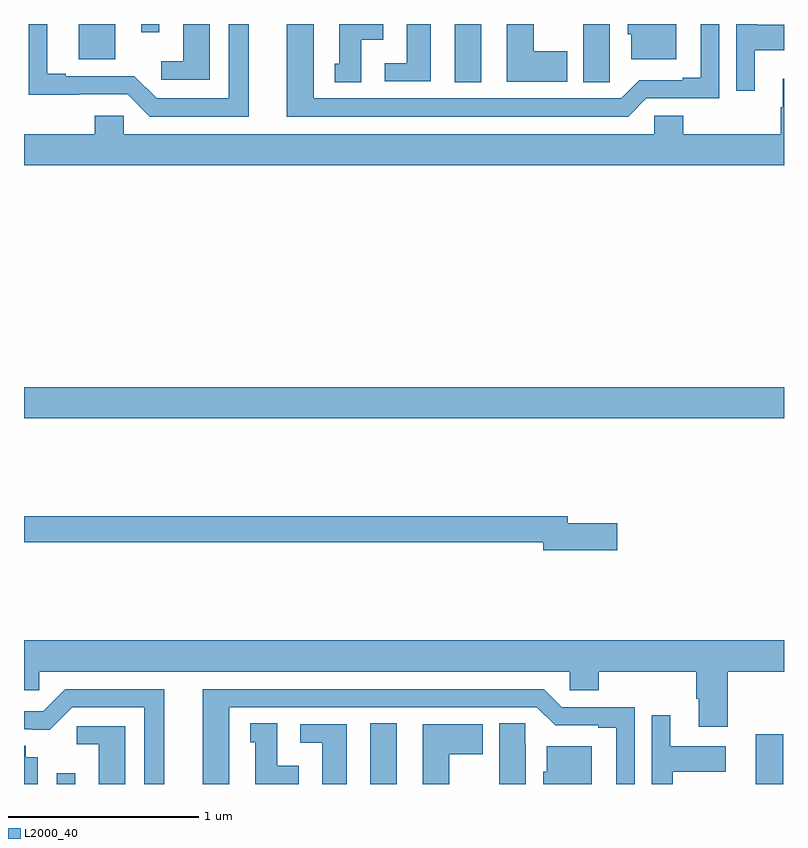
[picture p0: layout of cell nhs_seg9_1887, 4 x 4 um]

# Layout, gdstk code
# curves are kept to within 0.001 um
import gdstk
lib = gdstk.Library(unit=1e-6, precision=1e-09)
def R(c, l, rs):  # rectangles x0, y0, x1, y1
    for r in rs: c.add(gdstk.rectangle(r[:2], r[2:], *l))
def P(c, l, *ps):  # polygons
    for p in ps: c.add(gdstk.Polygon(p, *l))
L2000_40 = (2000, 40)

nhs_seg9_1887 = lib.new_cell('nhs_seg9_1887')
R(nhs_seg9_1887, L2000_40, [(217.173,1190.5,217.269,1190.557), (218.822,1190.5,218.962,1190.819), (220.85,1190.5,220.997,1190.761), (217,1192.424,221,1192.588), (219.266,1194.193,219.406,1194.5), (217.289,1194.314,217.48,1194.5), (217.616,1194.456,217.713,1194.5)])
P(nhs_seg9_1887, L2000_40, [(219.142,1194.5),(219.014,1194.5),(219.014,1194.294),(218.898,1194.294),(218.898,1194.198),(219.142,1194.198)],
  [(220.846,1194.362),(221,1194.362),(221,1194.497),(220.858,1194.497),(220.858,1194.5),(220.749,1194.5),(220.749,1194.15),(220.846,1194.15)],
  [(217.978,1194.5),(217.838,1194.5),(217.838,1194.304),(217.722,1194.304),(217.722,1194.207),(217.978,1194.207)],
  [(220.275,1194.108),(220.659,1194.108),(220.659,1194.5),(220.562,1194.5),(220.562,1194.217),(220.466,1194.217),(220.466,1194.204),(220.239,1194.204),(220.143,1194.108),(218.524,1194.108),(218.524,1194.5),(218.384,1194.5),(218.384,1194.012),(220.179,1194.012)],
  [(218.776,1194.416),(218.89,1194.416),(218.89,1194.5),(218.66,1194.5),(218.66,1194.291),(218.636,1194.291),(218.636,1194.193),(218.776,1194.193)],
  [(219.859,1194.357),(219.682,1194.357),(219.682,1194.5),(219.542,1194.5),(219.542,1194.197),(219.859,1194.197)],
  [(220.083,1194.304),(220.084,1194.304),(220.084,1194.5),(219.944,1194.5),(219.944,1194.193),(220.083,1194.193)],
  [(220.432,1194.5),(220.178,1194.5),(220.178,1194.447),(220.196,1194.447),(220.196,1194.314),(220.432,1194.314)],
  [(218.182,1194.5),(218.078,1194.5),(218.078,1194.108),(217.698,1194.108),(217.581,1194.225),(217.219,1194.225),(217.219,1194.238),(217.123,1194.238),(217.123,1194.5),(217.026,1194.5),(217.026,1194.128),(217.545,1194.129),(217.662,1194.012),(218.182,1194.012)],
  [(221,1194.211),(220.994,1194.211),(220.994,1194.062),(220.982,1194.062),(220.982,1193.92),(220.469,1193.92),(220.469,1194.018),(220.317,1194.018),(220.317,1193.92),(217.524,1193.92),(217.524,1194.018),(217.373,1194.018),(217.373,1193.92),(217,1193.92),(217,1193.756),(221,1193.756)],
  [(220.123,1191.872),(219.862,1191.872),(219.862,1191.908),(217,1191.908),(217,1191.772),(219.734,1191.772),(219.734,1191.73),(220.123,1191.73)],
  [(220.703,1191.092),(221,1191.092),(221,1191.256),(217,1191.256),(217,1190.994),(217.08,1190.994),(217.08,1191.092),(219.873,1191.092),(219.873,1190.994),(220.025,1190.994),(220.025,1191.092),(220.538,1191.092),(220.538,1190.95),(220.55,1190.95),(220.55,1190.802),(220.703,1190.802)],
  [(218.08,1190.904),(219.699,1190.904),(219.795,1190.808),(220.022,1190.808),(220.022,1190.796),(220.118,1190.796),(220.118,1190.5),(220.215,1190.5),(220.215,1190.904),(219.831,1190.904),(219.735,1191),(217.94,1191),(217.94,1190.5),(218.08,1190.5)],
  [(217.738,1191),(217.218,1191),(217.101,1190.883),(217,1190.883),(217,1190.787),(217.04,1190.787),(217.04,1190.786),(217.136,1190.786),(217.254,1190.904),(217.634,1190.904),(217.634,1190.5),(217.738,1190.5)],
  [(220.414,1190.564),(220.693,1190.564),(220.693,1190.698),(220.402,1190.698),(220.402,1190.863),(220.305,1190.863),(220.305,1190.5),(220.414,1190.5)],
  [(219.64,1190.708),(219.639,1190.708),(219.639,1190.819),(219.5,1190.819),(219.5,1190.5),(219.64,1190.5)],
  [(218.446,1190.596),(218.332,1190.596),(218.332,1190.819),(218.192,1190.819),(218.192,1190.721),(218.216,1190.721),(218.216,1190.5),(218.446,1190.5)],
  [(219.238,1190.656),(219.415,1190.656),(219.415,1190.815),(219.098,1190.815),(219.098,1190.5),(219.238,1190.5)],
  [(218.698,1190.814),(218.454,1190.814),(218.454,1190.718),(218.57,1190.718),(218.57,1190.5),(218.698,1190.5)],
  [(217.534,1190.805),(217.278,1190.805),(217.278,1190.708),(217.394,1190.708),(217.394,1190.5),(217.534,1190.5)],
  [(217.072,1190.641),(217.009,1190.641),(217.009,1190.702),(217,1190.702),(217,1190.5),(217.072,1190.5)],
  [(219.988,1190.698),(219.752,1190.698),(219.752,1190.565),(219.734,1190.565),(219.734,1190.5),(219.988,1190.5)])

lib.write_gds('nhs_seg9_1887.gds')
